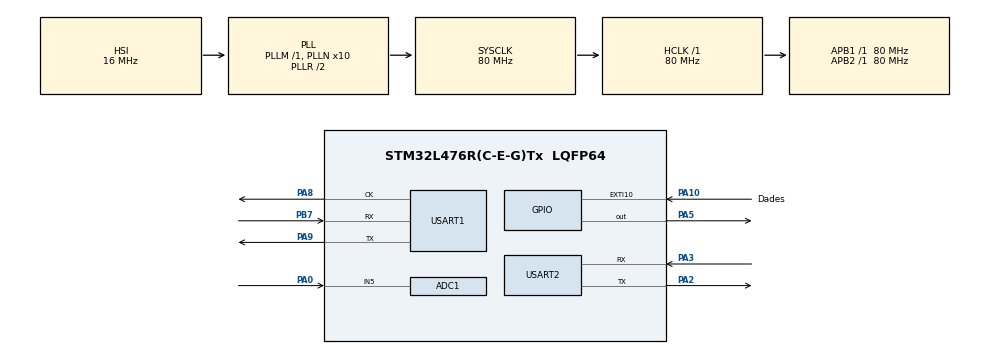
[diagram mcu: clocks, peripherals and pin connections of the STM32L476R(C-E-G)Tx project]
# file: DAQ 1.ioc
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ADC1.Channel-1\#ChannelRegularConversion=ADC_CHANNEL_5
ADC1.NbrOfConversion=1
ADC1.NbrOfConversionFlag=1
ADC1.OffsetNumber-1\#ChannelRegularConversion=ADC_OFFSET_NONE
ADC1.Rank-1\#ChannelRegularConversion=1
ADC1.SamplingTime-1\#ChannelRegularConversion=ADC_SAMPLETIME_12CYCLES_5
ADC1.master=1
Mcu.Family=STM32L4
Mcu.Name=STM32L476R(C-E-G)Tx
Mcu.Package=LQFP64
NVIC.EXTI15_10_IRQn=true\:0\:0\:false\:false\:true\:true\:true\:true
NVIC.PriorityGroup=NVIC_PRIORITYGROUP_4
NVIC.TIM2_IRQn=true\:0\:0\:false\:false\:true\:true\:true\:true
PA0.Signal=ADCx_IN5
PA10.GPIO_Label=Dades
PA10.Signal=GPXTI10
PA13\ (JTMS-SWDIO).GPIO_Label=TMS
PA13\ (JTMS-SWDIO).Mode=Serial_Wire
PA13\ (JTMS-SWDIO).Signal=SYS_JTMS-SWDIO
PA14\ (JTCK-SWCLK).GPIO_Label=TCK
PA14\ (JTCK-SWCLK).Mode=Serial_Wire
PA14\ (JTCK-SWCLK).Signal=SYS_JTCK-SWCLK
PA2.Mode=Asynchronous
PA2.Signal=USART2_TX
PA3.GPIO_Mode=GPIO_MODE_AF_PP
PA3.GPIO_ModeDefaultPP=GPIO_MODE_AF_PP
PA3.GPIO_PuPd=GPIO_NOPULL
PA3.GPIO_Speed=GPIO_SPEED_FREQ_VERY_HIGH
PA3.Mode=Asynchronous
PA3.Signal=USART2_RX
PA5.Signal=GPIO_Output
PA8.Mode=Synchronous
PA8.Signal=USART1_CK
PA9.Mode=Synchronous
PA9.Signal=USART1_TX
PB3\ (JTDO-TRACESWO).GPIO_Label=SWO
PB3\ (JTDO-TRACESWO).Signal=SYS_JTDO-SWO
PB7.Mode=Synchronous
PB7.Signal=USART1_RX
PC14-OSC32_IN\ (PC14).Signal=RCC_OSC32_IN
PC15-OSC32_OUT\ (PC15).Signal=RCC_OSC32_OUT
PH0-OSC_IN\ (PH0).Mode=HSE-External-Oscillator
PH0-OSC_IN\ (PH0).Signal=RCC_OSC_IN
PH1-OSC_OUT\ (PH1).Mode=HSE-External-Oscillator
PH1-OSC_OUT\ (PH1).Signal=RCC_OSC_OUT
ProjectManager.HeapSize=0x200
ProjectManager.StackSize=0x400
ProjectManager.TargetToolchain=STM32CubeIDE
RCC.ADCFreq_Value=64000000
RCC.AHBFreq_Value=80000000
RCC.APB1Freq_Value=80000000
RCC.APB1TimFreq_Value=80000000
RCC.APB2Freq_Value=80000000
RCC.APB2TimFreq_Value=80000000
RCC.CortexFreq_Value=80000000
RCC.HCLKFreq_Value=80000000
RCC.HSE_VALUE=8000000
RCC.HSI_VALUE=16000000
RCC.LSE_VALUE=32768
RCC.MSI_VALUE=4000000
RCC.PLLN=10
RCC.PLLSourceVirtual=RCC_PLLSOURCE_HSI
RCC.PREFETCH_ENABLE=1
RCC.SYSCLKFreq_VALUE=80000000
RCC.SYSCLKSource=RCC_SYSCLKSOURCE_PLLCLK
RCC.USBFreq_Value=64000000
RCC.VCOOutputFreq_Value=160000000
SH.ADCx_IN5.0=ADC1_IN5,IN5-Single-Ended
TIM2.Period=9999
TIM2.Prescaler=7999
USART1.VirtualMode-Synchronous=VM_SYNC
USART2.VirtualMode-Asynchronous=VM_ASYNC
VP_TIM2_VS_ClockSourceINT.Mode=Internal
board=NUCLEO-L476RG

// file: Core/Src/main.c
/* USER CODE BEGIN Header */
/**
  ******************************************************************************
  * @file           : main.c
  * @brief          : Main program body
  ******************************************************************************
  * @attention
  *
  * Copyright (c) 2025 STMicroelectronics.
  * All rights reserved.
  *
  * This software is licensed under terms that can be found in the LICENSE file
  * in the root directory of this software component.
  * If no LICENSE file comes with this software, it is provided AS-IS.
  *
  ******************************************************************************
  */
/* USER CODE END Header */
#include "main.h"
#include "adc.h"
#include "tim.h"
#include "usart.h"
#include "gpio.h"

/* USER CODE BEGIN Includes */
#include "math.h"
/* USER CODE END Includes */

/* USER CODE BEGIN PM */
/*
 * CAUDALÍMETRE: (5V vermell)  (CN9 D2 groc)  (GND negre)   no cal dividor de tensió dons el PA10 es FT
 * NTC:  3.3V--->NTC--->CN8 A0(ADC)--->47k--->GND (adc mesura el potencial respecte a gnd, el cual es VRf)
 */

/* USER CODE END PM */

/* USER CODE BEGIN PV */
volatile uint32_t pulsos = 0;
volatile uint8_t calcular = 0;
volatile float caudal_Lmin=0.00f;

volatile float TempC=0.00f;
volatile float Vo=0.00f;
volatile float RT=0.00f;
volatile float VT=0.00f;
volatile float A=0.05181f;
volatile uint32_t B=4090;
volatile uint16_t Rf=4700;

/* USER CODE END PV */

void SystemClock_Config(void);

int main(void)
{

  /* MCU Configuration--------------------------------------------------------*/

  /* Reset of all peripherals, Initializes the Flash interface and the Systick. */
  HAL_Init();

  /* Configure the system clock */
  SystemClock_Config();

  /* Initialize all configured peripherals */
  MX_GPIO_Init();
  MX_TIM2_Init();
  MX_USART1_Init();
  MX_USART2_UART_Init();
  MX_ADC1_Init();
  /* USER CODE BEGIN 2 */
  HAL_TIM_Base_Start_IT(&htim2);
  /* USER CODE END 2 */

  /* Infinite loop */
  /* USER CODE BEGIN WHILE */
  while (1)
  {
	  if (calcular !=0)
	{
		calcular=0;
		caudal_Lmin = (pulsos/4.8);
		pulsos=0;
		HAL_ADC_Start(&hadc1);
		if (HAL_ADC_PollForConversion(&hadc1, HAL_MAX_DELAY) == HAL_OK) {
		    Vo = HAL_ADC_GetValue(&hadc1);
		    HAL_ADC_Stop(&hadc1);
																			/* obtenim el valor del voltatge analogic entre 0 i 4095*/
			VT = 3.3f * (Vo) / 4095.0f;                        /* obtenim el voltatje entre 0 i 3,3V */
			/* VT=(Rf*3.3)/(Rf+NTC) */
			RT=(Rf*(3.3-VT))/VT;
		 /**
		  *
		  *R25=47000
		  *B=4090
		  *R25/(e^(B/T))=A==0.05181
		  */
			TempC = B/(logf(RT/A))-273.15;

		}
	}
    /* USER CODE END WHILE */

  }
}

void SystemClock_Config(void)
{
  RCC_OscInitTypeDef RCC_OscInitStruct = {0};
  RCC_ClkInitTypeDef RCC_ClkInitStruct = {0};

  /** Configure the main internal regulator output voltage
  */
  if (HAL_PWREx_ControlVoltageScaling(PWR_REGULATOR_VOLTAGE_SCALE1) != HAL_OK)
  {
    Error_Handler();
  }

  /** Initializes the RCC Oscillators according to the specified parameters
  * in the RCC_OscInitTypeDef structure.
  */
  RCC_OscInitStruct.OscillatorType = RCC_OSCILLATORTYPE_HSI;
  RCC_OscInitStruct.HSIState = RCC_HSI_ON;
  RCC_OscInitStruct.HSICalibrationValue = RCC_HSICALIBRATION_DEFAULT;
  RCC_OscInitStruct.PLL.PLLState = RCC_PLL_ON;
  RCC_OscInitStruct.PLL.PLLSource = RCC_PLLSOURCE_HSI;
  RCC_OscInitStruct.PLL.PLLM = 1;
  RCC_OscInitStruct.PLL.PLLN = 10;
  RCC_OscInitStruct.PLL.PLLP = RCC_PLLP_DIV7;
  RCC_OscInitStruct.PLL.PLLQ = RCC_PLLQ_DIV2;
  RCC_OscInitStruct.PLL.PLLR = RCC_PLLR_DIV2;
  if (HAL_RCC_OscConfig(&RCC_OscInitStruct) != HAL_OK)
  {
    Error_Handler();
  }

  /** Initializes the CPU, AHB and APB buses clocks
  */
  RCC_ClkInitStruct.ClockType = RCC_CLOCKTYPE_HCLK|RCC_CLOCKTYPE_SYSCLK
                              |RCC_CLOCKTYPE_PCLK1|RCC_CLOCKTYPE_PCLK2;
  RCC_ClkInitStruct.SYSCLKSource = RCC_SYSCLKSOURCE_PLLCLK;
  RCC_ClkInitStruct.AHBCLKDivider = RCC_SYSCLK_DIV1;
  RCC_ClkInitStruct.APB1CLKDivider = RCC_HCLK_DIV1;
  RCC_ClkInitStruct.APB2CLKDivider = RCC_HCLK_DIV1;

  if (HAL_RCC_ClockConfig(&RCC_ClkInitStruct, FLASH_LATENCY_4) != HAL_OK)
  {
    Error_Handler();
  }
}

/* USER CODE BEGIN 4 */

void HAL_GPIO_EXTI_Callback(uint16_t GPIO_Pin)
{
	if(GPIO_Pin == GPIO_PIN_10)
	{
	  pulsos++;
	}

}
void HAL_TIM_PeriodElapsedCallback(TIM_HandleTypeDef *htim)
{
	if (htim->Instance == TIM2) {
		calcular = 1;
	}
}
/* USER CODE END 4 */

void Error_Handler(void)
{
  __disable_irq();
  while (1)
  {
  }
}
